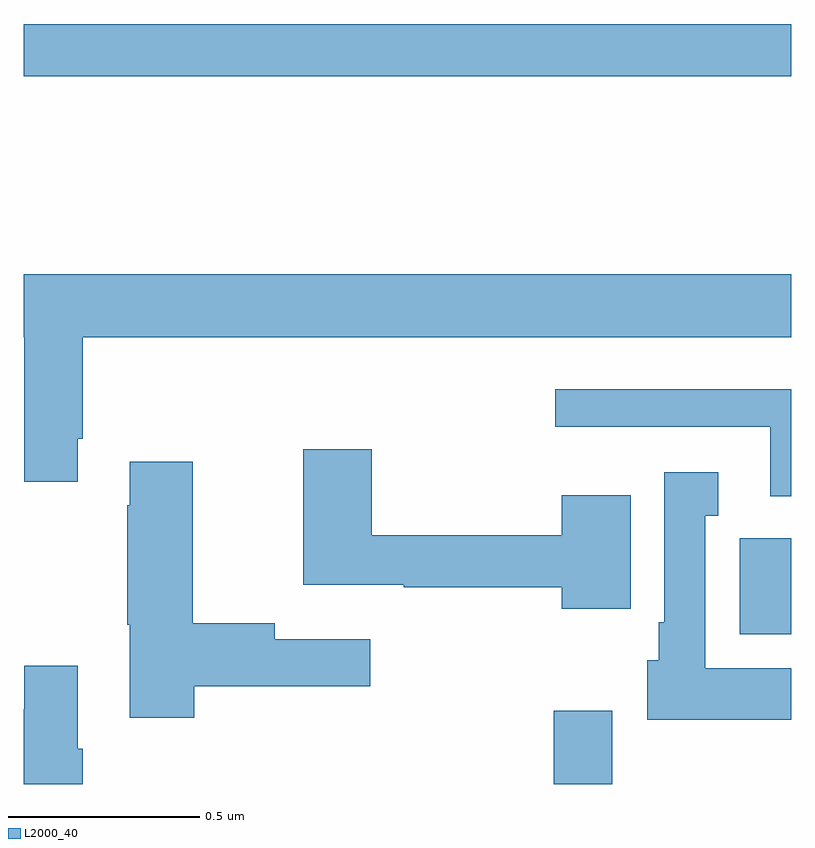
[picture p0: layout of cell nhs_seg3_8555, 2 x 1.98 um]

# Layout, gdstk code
import gdstk
lib = gdstk.Library(unit=1e-6, precision=1e-09)
def R(c, l, rs):  # rectangles x0, y0, x1, y1
    for r in rs: c.add(gdstk.rectangle(r[:2], r[2:], *l))
def P(c, l, *ps):  # polygons
    for p in ps: c.add(gdstk.Polygon(p, *l))
L2000_40 = (2000, 40)

nhs_seg3_8555 = lib.new_cell('nhs_seg3_8555')
R(nhs_seg3_8555, L2000_40, [(218.381,718.4,218.533,718.591), (218.865,718.79,219,719.04), (217,720.244,219,720.38)])
P(nhs_seg3_8555, L2000_40, [(217.141,719.299),(217.154,719.299),(217.154,719.564),(219,719.564),(219,719.728),(217,719.728),(217,719.564),(217.001,719.564),(217.001,719.187),(217.141,719.187)],
  [(219,719.428),(218.385,719.428),(218.385,719.331),(218.945,719.331),(218.945,719.15),(219,719.15)],
  [(218.581,719.152),(218.402,719.152),(218.402,719.048),(217.907,719.048),(217.907,719.272),(217.729,719.272),(217.729,718.919),(217.99,718.919),(217.99,718.912),(218.402,718.912),(218.402,718.856),(218.581,718.856)],
  [(217.445,718.655),(217.903,718.655),(217.903,718.777),(217.654,718.777),(217.654,718.819),(217.44,718.819),(217.44,719.239),(217.277,719.239),(217.277,719.126),(217.27,719.126),(217.27,718.815),(217.277,718.815),(217.277,718.572),(217.445,718.572)],
  [(219,718.702),(218.776,718.702),(218.776,719.099),(218.809,719.099),(218.809,719.212),(218.669,719.212),(218.669,718.822),(218.654,718.822),(218.654,718.722),(218.624,718.722),(218.624,718.568),(219,718.568)],
  [(217.154,718.492),(217.141,718.492),(217.141,718.708),(217.001,718.708),(217.001,718.595),(217,718.595),(217,718.4),(217.154,718.4)])

lib.write_gds('nhs_seg3_8555.gds')
